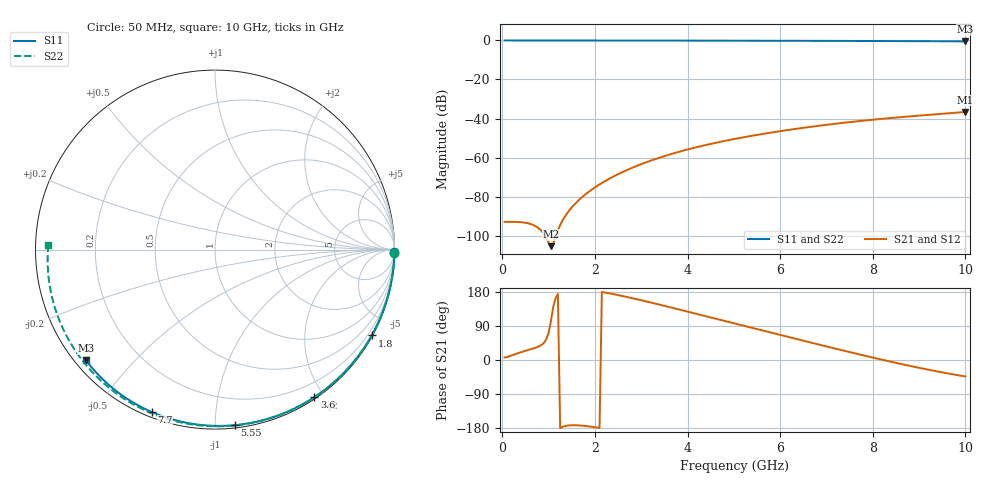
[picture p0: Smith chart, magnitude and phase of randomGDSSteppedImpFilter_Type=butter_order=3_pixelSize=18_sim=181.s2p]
! freq	dB(S11)	phase(S11)	dB(S12)	phase(S12)
!  dB(S21)	phase(S21)	dB(S22)	phase(S22)
!S-par simulation data
#  GHz  S  DB  R 50
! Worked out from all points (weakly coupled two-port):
!   200 points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, 50 MHz to 10 GHz, reference 50 ohm
!   highest |S21| = -36.64 dB at 10 GHz (marker M1); lowest = -105.4 dB at 1.05 GHz (marker M2)
!   lowest |S11| = -0.5 dB at 10 GHz (marker M3), VSWR 36.60, Z = 1.55 - j18.5 ohm
!   |S11| at or under -10 dB: nowhere
!   |S22| runs from -0.6 to 0.0 dB; largest |S21 - S12| = 0
!   S11 on the Smith chart (normalised r, x): 50 MHz: open; 1.8 GHz: 0.03, -3.91; 3.6 GHz: 0.02, -1.88; 5.55 GHz: 0.02, -1.12; 7.7 GHz: 0.02, -0.68; 10 GHz: 0.03, -0.37
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0.05  -0.00 -0.8  -92.99 6.8  -92.99 6.8  -0.00 -1.0
0.55  -0.01 -8.9  -93.65 26.1  -93.65 26.1  -0.01 -11.1
1.05  -0.02 -16.9  -105.41 102.5  -105.41 102.5  -0.03 -21.0
1.7  -0.03 -27.1  -80.76 -173.0  -80.76 -173.0  -0.04 -33.8
1.75  -0.04 -27.9  -79.73 -173.5  -79.73 -173.5  -0.04 -34.8
1.8  -0.04 -28.7  -78.76 -174.2  -78.76 -174.2  -0.05 -35.7
2.1  -0.04 -33.4  -73.76 -179.4  -73.76 -179.4  -0.05 -41.5
2.3  -0.05 -36.4  -70.98 176.2  -70.98 176.2  -0.06 -45.3
2.5  -0.05 -39.5  -68.53 171.3  -68.53 171.3  -0.06 -49.1
2.9  -0.06 -45.6  -64.31 160.6  -64.31 160.6  -0.07 -56.7
3.4  -0.07 -53.1  -60.02 146.0  -60.02 146.0  -0.09 -65.9
3.6  -0.08 -56.0  -58.53 139.9  -58.53 139.9  -0.09 -69.5
4.3  -0.09 -66.1  -54.09 118.3  -54.09 118.3  -0.12 -82.0
5.05  -0.12 -76.6  -50.32 95.0  -50.32 95.0  -0.15 -95.1
5.55  -0.14 -83.5  -48.20 79.7  -48.20 79.7  -0.17 -103.6
6.1  -0.16 -90.8  -46.13 62.9  -46.13 62.9  -0.20 -112.9
6.7  -0.19 -98.6  -44.13 44.8  -44.13 44.8  -0.24 -122.9
7.7  -0.25 -111.3  -41.33 15.0  -41.33 15.0  -0.32 -139.7
8.35  -0.31 -119.3  -39.83 -3.5  -39.83 -3.5  -0.39 -150.8
9.2  -0.38 -129.7  -38.13 -25.6  -38.13 -25.6  -0.50 -165.9
9.6  -0.43 -134.5  -37.39 -34.9  -37.39 -34.9  -0.56 -173.5
10  -0.47 -139.4  -36.64 -43.4  -36.64 -43.4  -0.64 178.6
